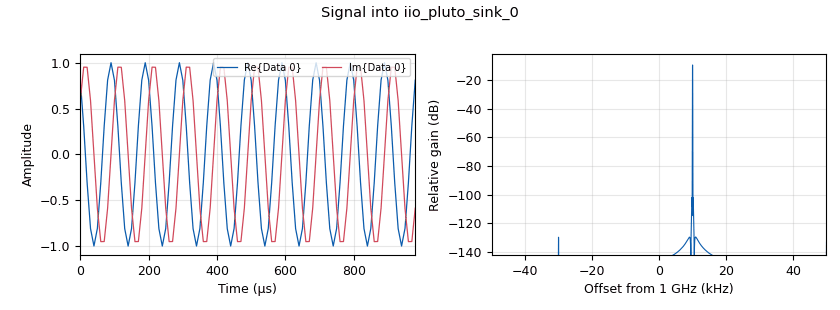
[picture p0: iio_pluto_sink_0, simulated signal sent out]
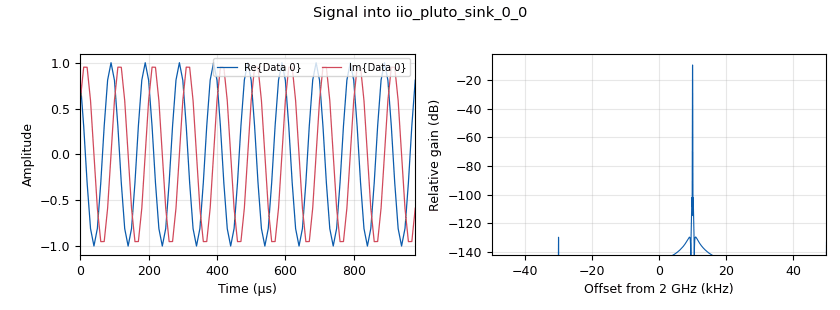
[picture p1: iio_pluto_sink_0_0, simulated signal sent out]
options:
  parameters:
    author: finnb
    generate_options: qt_gui
    id: basic
    output_language: python
    title: Not titled yet
  states: {}

blocks:
- name: LO_1_RX
  id: variable
  parameters:
    value: '3000000000'
  states: {}
- name: LO_1_TX
  id: variable
  parameters:
    value: '2000000000'
  states: {}
- name: LO_2_TX
  id: variable
  parameters:
    value: '1000000000'
  states: {}
- name: PLUTO1_IIO
  id: variable
  parameters:
    value: '"TODO"'
  states: {}
- name: PLUTO2_IIO
  id: variable
  parameters:
    value: '"TODO"'
  states: {}
- name: rx_gain
  id: variable_qtgui_range
  parameters:
    start: '0'
    step: '1'
    stop: '100'
    value: '10'
  states: {}
- name: samp_rate
  id: variable
  parameters:
    value: '100000'
  states: {}
- name: tone
  id: variable
  parameters:
    value: '10000'
  states: {}
- name: tx_attenuation
  id: variable_qtgui_range
  parameters:
    start: '0'
    step: '1'
    stop: '100'
    value: '50'
  states: {}
- name: analog_sig_source_x_0
  id: analog_sig_source_x
  parameters:
    amp: '1'
    freq: tone
    offset: '0'
    phase: '0'
    samp_rate: samp_rate
    type: complex
    waveform: analog.GR_COS_WAVE
  states: {}
- name: analog_sig_source_x_0_0
  id: analog_sig_source_x
  parameters:
    amp: '1'
    freq: tone
    offset: '0'
    phase: '0'
    samp_rate: samp_rate
    type: complex
    waveform: analog.GR_COS_WAVE
  states: {}
- name: iio_pluto_sink_0
  id: iio_pluto_sink
  parameters:
    attenuation1: tx_attenuation
    bandwidth: '20000000'
    buffer_size: '32768'
    cyclic: 'False'
    filter_source: '''Auto'''
    frequency: LO_2_TX
    samplerate: samp_rate
    type: fc32
    uri: PLUTO2_IIO
  states: {}
- name: iio_pluto_sink_0_0
  id: iio_pluto_sink
  parameters:
    attenuation1: tx_attenuation
    bandwidth: '20000000'
    buffer_size: '32768'
    cyclic: 'False'
    filter_source: '''Auto'''
    frequency: LO_1_TX
    samplerate: samp_rate
    type: fc32
    uri: PLUTO1_IIO
  states: {}
- name: iio_pluto_source_0
  id: iio_pluto_source
  parameters:
    bandwidth: '20000000'
    bbdc: 'True'
    buffer_size: '32768'
    filter_source: '''Auto'''
    frequency: LO_1_RX
    gain1: '''manual'''
    manual_gain1: rx_gain
    quadrature: 'True'
    rfdc: 'True'
    samplerate: samp_rate
    type: fc32
    uri: PLUTO1_IIO
  states: {}
- name: qtgui_freq_sink_x_0
  id: qtgui_freq_sink_x
  parameters:
    bw: samp_rate
    fc: '0'
    fftsize: '1024'
    type: complex
  states: {}
- name: qtgui_time_sink_x_0
  id: qtgui_time_sink_x
  parameters:
    size: '1024'
    srate: samp_rate
    type: complex
  states: {}

connections:
- [analog_sig_source_x_0, '0', iio_pluto_sink_0, '0']
- [analog_sig_source_x_0_0, '0', iio_pluto_sink_0_0, '0']
- [iio_pluto_source_0, '0', qtgui_freq_sink_x_0, '0']
- [iio_pluto_source_0, '0', qtgui_time_sink_x_0, '0']

metadata:
  file_format: 1
  grc_version: 3.10.12.0
